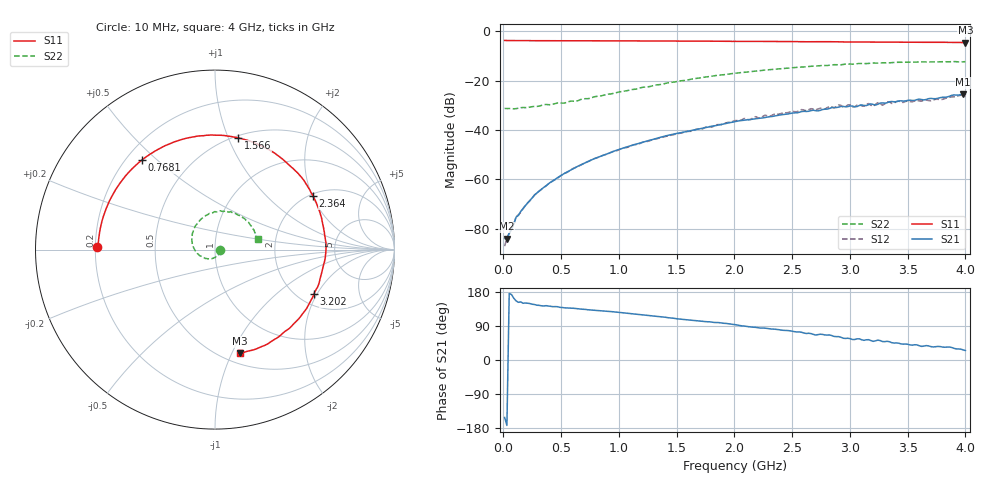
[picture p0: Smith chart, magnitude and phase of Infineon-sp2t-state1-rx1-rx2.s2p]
! 5/10/2016 1:45:41 PM
! C:\ANRITSUVNA\DATA\INFINEON-SP2T-STATE1-RX1-RX2.S2P
! CHANNEL.1
! TR.MEASUREMENT
! CORRECTED.DATA
# GHZ S RI R 50.0
! FREQ.GHZ  S11RE  S11IM  S21RE  S21IM  S12RE  S12IM  S22RE  S22IM
!; PortSelection: Port_12
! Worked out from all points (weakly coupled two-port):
!   201 points, 10 MHz to 4 GHz, reference 50 ohm
!   highest |S21| = -25.43 dB at 3.98 GHz (marker M1); lowest = -84.0 dB at 29.95 MHz (marker M2)
!   lowest |S11| = -4.5 dB at 4 GHz (marker M3), VSWR 3.93, Z = 30.1 - j53.8 ohm
!   |S11| at or under -10 dB: nowhere
!   |S22| runs from -31.4 to -12.2 dB; largest |S21 - S12| = 0.0058
!   S11 on the Smith chart (normalised r, x): 10 MHz: 0.21, +0.01; 768.1 MHz: 0.26, +0.45; 1.566 GHz: 0.52, +1.09; 2.364 GHz: 2.09, +2.02; 3.202 GHz: 2.43, -1.88; 4 GHz: 0.60, -1.08
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0.01  -0.6548 0.0159  -5.6e-05 -3.03e-05  -4.27e-05 -1.26e-05  0.0275 -0.00223
0.02995  -0.651 0.0247  -6.27e-05 -8e-06  -6.42e-05 -1.1e-06  0.0272 -0.00223
0.06985  -0.6485 0.0555  -9.61e-05 1.22e-05  -9.82e-05 1.76e-05  0.0269 -0.00411
0.10975  -0.6444 0.0861  -0.000158 7.07e-05  -0.000159 7.35e-05  0.0263 -0.00715
0.30925  -0.6057 0.2303  -0.000474 0.000341  -0.000469 0.000339  0.0231 -0.0201
0.6883  -0.4497 0.4621  -0.00143 0.00149  -0.00143 0.00149  0.00324 -0.0428
0.7681  -0.4055 0.5001  -0.00168 0.00189  -0.00168 0.0019  -0.00452 -0.0455
1.34665  -0.0222 0.6389  -0.00293 0.00637  -0.00291 0.0062  -0.0721 -0.0415
1.5661  0.1291 0.6224  -0.00266 0.00879  -0.00293 0.00862  -0.0994 -0.0195
2.005  0.3963 0.4865  -0.00087 0.0148  -0.00148 0.0155  -0.1294 0.0584
2.3641  0.5466 0.2972  0.00313 0.0195  0.00352 0.0208  -0.1061 0.1355
2.6833  0.6095 0.0958  0.00962 0.0234  0.0116 0.0239  -0.0477 0.191
2.90275  0.6122 -0.0578  0.0138 0.0257  0.0172 0.0274  0.00684 0.2103
3.0424  0.5899 -0.1447  0.0174 0.0241  0.0178 0.0236  0.0485 0.2126
3.1621  0.5637 -0.2217  0.0195 0.0265  0.0241 0.0248  0.0815 0.2095
3.202  0.5518 -0.2458  0.0216 0.025  0.0205 0.0225  0.0899 0.2104
3.2419  0.5421 -0.2689  0.0203 0.0264  0.0248 0.0261  0.0994 0.2043
3.2818  0.529 -0.2925  0.0235 0.0268  0.0229 0.0224  0.1124 0.2014
3.34165  0.511 -0.3274  0.0249 0.028  0.0284 0.0242  0.1262 0.1934
3.70075  0.3329 -0.4993  0.0358 0.0255  0.0326 0.0219  0.2031 0.1301
3.98005  0.1515 -0.5749  0.0478 0.0242  0.0453 0.0207  0.2337 0.0603
4  0.1398 -0.5775  0.0482 0.0224  0.0437 0.0204  0.2378 0.0566
